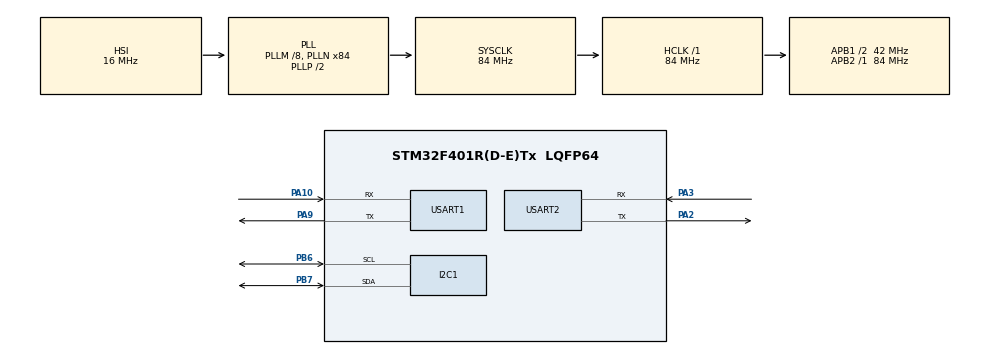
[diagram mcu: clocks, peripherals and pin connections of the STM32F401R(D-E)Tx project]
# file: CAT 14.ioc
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Mcu.Family=STM32F4
Mcu.Name=STM32F401R(D-E)Tx
Mcu.Package=LQFP64
NVIC.PriorityGroup=NVIC_PRIORITYGROUP_4
PA10.Mode=Asynchronous
PA10.Signal=USART1_RX
PA13.Mode=Serial_Wire
PA13.Signal=SYS_JTMS-SWDIO
PA14.Mode=Serial_Wire
PA14.Signal=SYS_JTCK-SWCLK
PA2.Mode=Asynchronous
PA2.Signal=USART2_TX
PA3.Mode=Asynchronous
PA3.Signal=USART2_RX
PA9.Mode=Asynchronous
PA9.Signal=USART1_TX
PB6.Mode=I2C
PB6.Signal=I2C1_SCL
PB7.Mode=I2C
PB7.Signal=I2C1_SDA
PH0\ -\ OSC_IN.Mode=HSE-External-Clock-Source
PH0\ -\ OSC_IN.Signal=RCC_OSC_IN
PH1\ -\ OSC_OUT.Mode=HSE-External-Clock-Source
PH1\ -\ OSC_OUT.Signal=RCC_OSC_OUT
ProjectManager.HeapSize=0x200
ProjectManager.StackSize=0x400
ProjectManager.TargetToolchain=MDK-ARM V5.32
RCC.48MHZClocksFreq_Value=42000000
RCC.AHBFreq_Value=84000000
RCC.APB1CLKDivider=RCC_HCLK_DIV2
RCC.APB1Freq_Value=42000000
RCC.APB1TimFreq_Value=84000000
RCC.APB2Freq_Value=84000000
RCC.APB2TimFreq_Value=84000000
RCC.CortexFreq_Value=84000000
RCC.HCLKFreq_Value=84000000
RCC.HSE_VALUE=25000000
RCC.HSI_VALUE=16000000
RCC.LSE_VALUE=32768
RCC.PLLM=8
RCC.PLLN=84
RCC.SYSCLKFreq_VALUE=84000000
RCC.SYSCLKSource=RCC_SYSCLKSOURCE_PLLCLK
RCC.VCOOutputFreq_Value=168000000
USART1.VirtualMode=VM_ASYNC
USART2.VirtualMode=VM_ASYNC
board=custom

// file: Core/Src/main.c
/* USER CODE BEGIN Header */
/**
  ******************************************************************************
  * @file           : main.c
  * @brief          : Main program body
  ******************************************************************************
  * @attention
  *
  * Copyright (c) 2026 STMicroelectronics.
  * All rights reserved.
  *
  * This software is licensed under terms that can be found in the LICENSE file
  * in the root directory of this software component.
  * If no LICENSE file comes with this software, it is provided AS-IS.
  *
  ******************************************************************************
  */
/* USER CODE END Header */
#include "main.h"

/* USER CODE BEGIN Includes */
#include "ESPLib.h"
#include "bme280.h"
#include <stdio.h>
#include <string.h>
/* USER CODE END Includes */

I2C_HandleTypeDef hi2c1;

UART_HandleTypeDef huart1;
UART_HandleTypeDef huart2;

/* USER CODE BEGIN PV */
struct bme280_dev dev;
struct bme280_data comp_data;
int8_t rslt = BME280_OK;

// Variables to store final calculated values
float temperature, pressure, humidity;
static uint8_t dev_addr = BME280_I2C_ADDR_PRIM;
/* USER CODE END PV */

void SystemClock_Config(void);
static void MX_GPIO_Init(void);
static void MX_I2C1_Init(void);
static void MX_USART1_UART_Init(void);
static void MX_USART2_UART_Init(void);
/* USER CODE BEGIN PFP */
int8_t user_i2c_read(
    uint8_t reg_addr,
    uint8_t *reg_data,
    uint32_t len,
    void *intf_ptr
);

int8_t user_i2c_write(
    uint8_t reg_addr,
    const uint8_t *reg_data,
    uint32_t len,
    void *intf_ptr
);

void user_delay_us(uint32_t period, void *intf_ptr);
/* USER CODE END PFP */

int main(void)
{

  /* MCU Configuration--------------------------------------------------------*/

  /* Reset of all peripherals, Initializes the Flash interface and the Systick. */
  HAL_Init();

  /* Configure the system clock */
  SystemClock_Config();

  /* Initialize all configured peripherals */
  MX_GPIO_Init();
  MX_I2C1_Init();
  MX_USART1_UART_Init();
  MX_USART2_UART_Init();
  /* USER CODE BEGIN 2 */

	// Set up BME280 API
	dev.intf_ptr = &dev_addr;
	dev.intf = BME280_I2C_INTF;
	dev.read = user_i2c_read;
	dev.write = user_i2c_write;
	dev.delay_us = user_delay_us;

	// Initialize sensor
	rslt = bme280_init(&dev);

	if (rslt != BME280_OK)
			Error_Handler();

	// Configure sensor settings
	struct bme280_settings settings;

	settings.osr_h = BME280_OVERSAMPLING_1X;
	settings.osr_p = BME280_OVERSAMPLING_1X;
	settings.osr_t = BME280_OVERSAMPLING_1X;
	settings.filter = BME280_FILTER_COEFF_OFF;

	rslt = bme280_set_sensor_settings(
			BME280_SEL_OSR_PRESS | BME280_SEL_OSR_TEMP |
			BME280_SEL_OSR_HUM | BME280_SEL_FILTER,
			&settings,
			&dev
	);

	if (rslt != BME280_OK)
			Error_Handler();

	// Set normal mode
	rslt = bme280_set_sensor_mode(BME280_POWERMODE_NORMAL, &dev);

	if (rslt != BME280_OK)
			Error_Handler();

	// 1. Initialize ESP8266 using USART1
	ESP8266_Init(StationMode, &huart1);

	// 2. Connect to Wi-Fi
	ESP8266_wifiConnect("SNUC", "snu12345");

	// 3. Connect to MQTT broker
	ESP8266_portConnect("TCP", "broker.emqx.io", "1883");

	// 4. Configure MQTT client
	MQTT_InitTypeDef_t mqttSetting;

	mqttSetting.keepAlive = 500;
	mqttSetting.connectFlag = CleanSession;
	mqttSetting.clientID = "STM32_Publisher";

	// 5. Connect to MQTT broker
	MQTT_connectBroker(&mqttSetting);
  /* USER CODE END 2 */

  /* Infinite loop */
  while (1)
  {

  }
}

void SystemClock_Config(void)
{
  RCC_OscInitTypeDef RCC_OscInitStruct = {0};
  RCC_ClkInitTypeDef RCC_ClkInitStruct = {0};

  /** Configure the main internal regulator output voltage
  */
  __HAL_RCC_PWR_CLK_ENABLE();
  __HAL_PWR_VOLTAGESCALING_CONFIG(PWR_REGULATOR_VOLTAGE_SCALE2);

  /** Initializes the RCC Oscillators according to the specified parameters
  * in the RCC_OscInitTypeDef structure.
  */
  RCC_OscInitStruct.OscillatorType = RCC_OSCILLATORTYPE_HSI;
  RCC_OscInitStruct.HSIState = RCC_HSI_ON;
  RCC_OscInitStruct.HSICalibrationValue = RCC_HSICALIBRATION_DEFAULT;
  RCC_OscInitStruct.PLL.PLLState = RCC_PLL_ON;
  RCC_OscInitStruct.PLL.PLLSource = RCC_PLLSOURCE_HSI;
  RCC_OscInitStruct.PLL.PLLM = 8;
  RCC_OscInitStruct.PLL.PLLN = 84;
  RCC_OscInitStruct.PLL.PLLP = RCC_PLLP_DIV2;
  RCC_OscInitStruct.PLL.PLLQ = 4;
  if (HAL_RCC_OscConfig(&RCC_OscInitStruct) != HAL_OK)
  {
    Error_Handler();
  }

  /** Initializes the CPU, AHB and APB buses clocks
  */
  RCC_ClkInitStruct.ClockType = RCC_CLOCKTYPE_HCLK|RCC_CLOCKTYPE_SYSCLK
                              |RCC_CLOCKTYPE_PCLK1|RCC_CLOCKTYPE_PCLK2;
  RCC_ClkInitStruct.SYSCLKSource = RCC_SYSCLKSOURCE_PLLCLK;
  RCC_ClkInitStruct.AHBCLKDivider = RCC_SYSCLK_DIV1;
  RCC_ClkInitStruct.APB1CLKDivider = RCC_HCLK_DIV2;
  RCC_ClkInitStruct.APB2CLKDivider = RCC_HCLK_DIV1;

  if (HAL_RCC_ClockConfig(&RCC_ClkInitStruct, FLASH_LATENCY_2) != HAL_OK)
  {
    Error_Handler();
  }
}

static void MX_I2C1_Init(void)
{

  hi2c1.Instance = I2C1;
  hi2c1.Init.ClockSpeed = 100000;
  hi2c1.Init.DutyCycle = I2C_DUTYCYCLE_2;
  hi2c1.Init.OwnAddress1 = 0;
  hi2c1.Init.AddressingMode = I2C_ADDRESSINGMODE_7BIT;
  hi2c1.Init.DualAddressMode = I2C_DUALADDRESS_DISABLE;
  hi2c1.Init.OwnAddress2 = 0;
  hi2c1.Init.GeneralCallMode = I2C_GENERALCALL_DISABLE;
  hi2c1.Init.NoStretchMode = I2C_NOSTRETCH_DISABLE;
  if (HAL_I2C_Init(&hi2c1) != HAL_OK)
  {
    Error_Handler();
  }

}

static void MX_USART1_UART_Init(void)
{

  huart1.Instance = USART1;
  huart1.Init.BaudRate = 115200;
  huart1.Init.WordLength = UART_WORDLENGTH_8B;
  huart1.Init.StopBits = UART_STOPBITS_1;
  huart1.Init.Parity = UART_PARITY_NONE;
  huart1.Init.Mode = UART_MODE_TX_RX;
  huart1.Init.HwFlowCtl = UART_HWCONTROL_NONE;
  huart1.Init.OverSampling = UART_OVERSAMPLING_16;
  if (HAL_UART_Init(&huart1) != HAL_OK)
  {
    Error_Handler();
  }

}

static void MX_USART2_UART_Init(void)
{

  huart2.Instance = USART2;
  huart2.Init.BaudRate = 115200;
  huart2.Init.WordLength = UART_WORDLENGTH_8B;
  huart2.Init.StopBits = UART_STOPBITS_1;
  huart2.Init.Parity = UART_PARITY_NONE;
  huart2.Init.Mode = UART_MODE_TX_RX;
  huart2.Init.HwFlowCtl = UART_HWCONTROL_NONE;
  huart2.Init.OverSampling = UART_OVERSAMPLING_16;
  if (HAL_UART_Init(&huart2) != HAL_OK)
  {
    Error_Handler();
  }

}

static void MX_GPIO_Init(void)
{

  /* GPIO Ports Clock Enable */
  __HAL_RCC_GPIOH_CLK_ENABLE();
  __HAL_RCC_GPIOA_CLK_ENABLE();
  __HAL_RCC_GPIOB_CLK_ENABLE();

}

/* USER CODE BEGIN 4 */
int8_t user_i2c_read(uint8_t reg_addr, uint8_t *reg_data, uint32_t len, void *intf_ptr) {
    // Dev address shifted left by 1 is handled by HAL
    uint8_t dev_addr = *(uint8_t*)intf_ptr;
    if (HAL_I2C_Mem_Read(&hi2c1, (dev_addr << 1), reg_addr, I2C_MEMADD_SIZE_8BIT, reg_data, len,
HAL_MAX_DELAY) == HAL_OK) {
        return BME280_OK;
    }
    return BME280_E_COMM_FAIL;
}

int8_t user_i2c_write(uint8_t reg_addr, const uint8_t *reg_data, uint32_t len, void *intf_ptr) {
    uint8_t dev_addr = *(uint8_t*)intf_ptr;
    if (HAL_I2C_Mem_Write(&hi2c1, (dev_addr << 1), reg_addr, I2C_MEMADD_SIZE_8BIT,
(uint8_t*)reg_data, len, HAL_MAX_DELAY) == HAL_OK) {
        return BME280_OK;
    }
    return BME280_E_COMM_FAIL;
}

void user_delay_us(uint32_t period, void *intf_ptr) {
    // HAL provides millisecond delay; convert microseconds upward
    HAL_Delay((period / 1000) + 1);
}
/* USER CODE END 4 */

void Error_Handler(void)
{
  __disable_irq();
  while (1)
  {
  }
}
